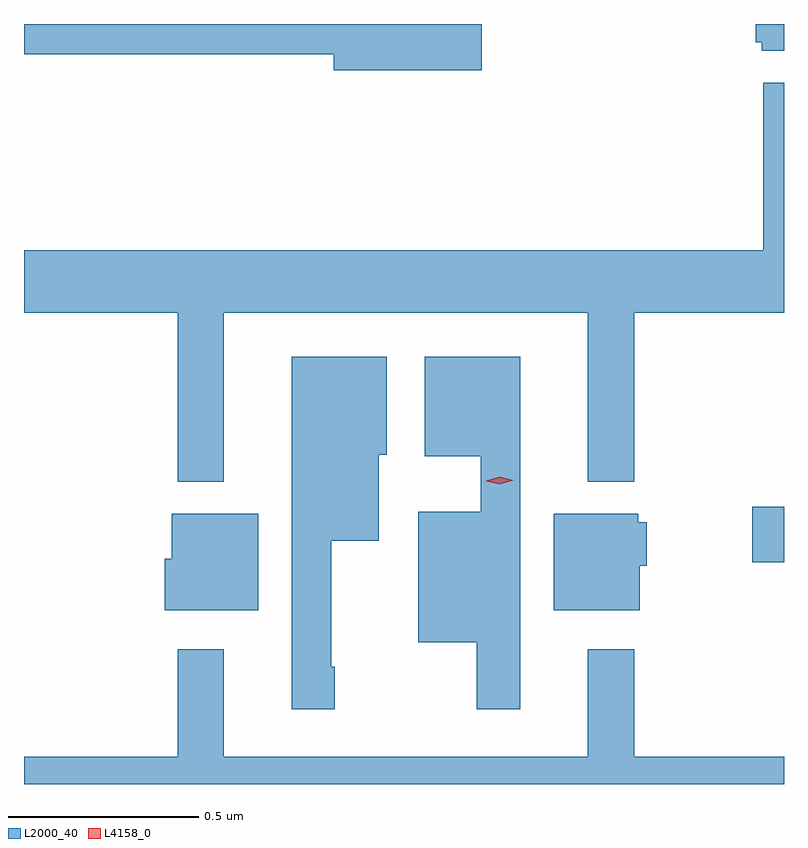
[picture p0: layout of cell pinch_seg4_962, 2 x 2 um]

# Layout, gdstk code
import gdstk
lib = gdstk.Library(unit=1e-6, precision=1e-09)
def R(c, l, rs):  # rectangles x0, y0, x1, y1
    for r in rs: c.add(gdstk.rectangle(r[:2], r[2:], *l))
def P(c, l, *ps):  # polygons
    for p in ps: c.add(gdstk.Polygon(p, *l))
L2000_40 = (2000, 40)
L4158_0 = (4158, 0)

pinch_seg4_962 = lib.new_cell('pinch_seg4_962')
R(pinch_seg4_962, L2000_40, [(661.284,785.507,661.367,785.654)])
P(pinch_seg4_962, L2000_40, [(660.571,786.924),(659.367,786.924),(659.367,786.844),(660.182,786.844),(660.182,786.802),(660.571,786.802)],
  [(661.367,786.924),(661.292,786.924),(661.292,786.876),(661.308,786.876),(661.308,786.854),(661.367,786.854)],
  [(659.893,786.164),(660.851,786.164),(660.851,785.72),(660.973,785.72),(660.973,786.164),(661.367,786.164),(661.367,786.769),(661.313,786.769),(661.313,786.328),(659.367,786.328),(659.367,786.164),(659.772,786.164),(659.772,785.72),(659.893,785.72)],
  [(660.673,786.049),(660.422,786.049),(660.422,785.786),(660.569,785.786),(660.569,785.641),(660.404,785.641),(660.404,785.297),(660.559,785.297),(660.559,785.121),(660.673,785.121)],
  [(660.185,785.233),(660.175,785.233),(660.175,785.564),(660.301,785.564),(660.301,785.79),(660.322,785.79),(660.322,786.049),(660.071,786.049),(660.071,785.121),(660.185,785.121)],
  [(660.988,785.499),(661.006,785.499),(661.006,785.613),(660.984,785.613),(660.984,785.635),(660.761,785.635),(660.761,785.381),(660.988,785.381)],
  [(659.983,785.635),(659.756,785.635),(659.756,785.517),(659.738,785.517),(659.738,785.381),(659.983,785.381)],
  [(661.367,784.996),(660.973,784.996),(660.973,785.278),(660.851,785.278),(660.851,784.996),(659.893,784.996),(659.893,785.278),(659.772,785.278),(659.772,784.996),(659.367,784.996),(659.367,784.924),(661.367,784.924)])
P(pinch_seg4_962, L4158_0, [(660.619,785.713),(660.583,785.721),(660.583,785.722),(660.583,785.722),(660.619,785.733),(660.655,785.724),(660.655,785.724),(660.655,785.724)])

lib.write_gds('pinch_seg4_962.gds')
